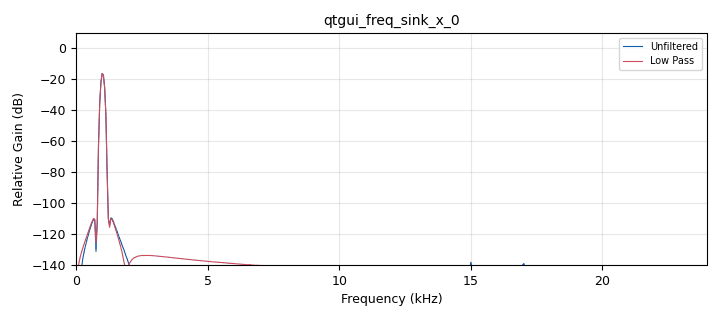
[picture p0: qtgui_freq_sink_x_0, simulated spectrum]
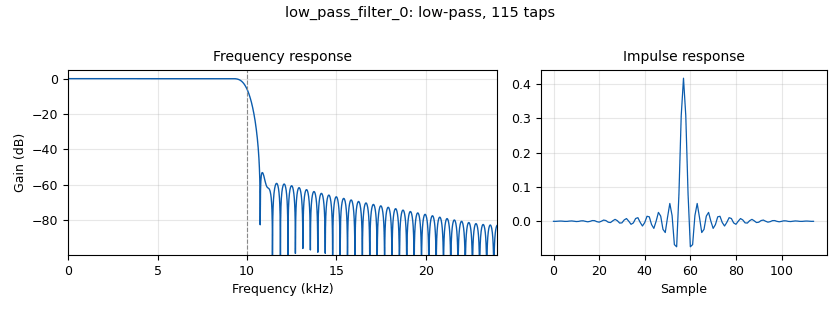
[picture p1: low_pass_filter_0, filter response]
<?xml version='1.0' encoding='utf-8'?>
<?grc format='1' created='3.7.10'?>
<flow_graph>
<block>
<key>options</key>
<param><key>id</key><value>top_block</value></param>
<param><key>generate_options</key><value>qt_gui</value></param>
</block>
<block>
<key>variable_qtgui_range</key>
<param><key>id</key><value>cutoff_freq</value></param>
<param><key>value</key><value>10e3</value></param>
<param><key>orient</key><value>Qt.Horizontal</value></param>
<param><key>start</key><value>100</value></param>
<param><key>step</key><value>10</value></param>
<param><key>stop</key><value>24e3</value></param>
</block>
<block>
<key>variable_qtgui_range</key>
<param><key>id</key><value>freq</value></param>
<param><key>value</key><value>1e3</value></param>
<param><key>label</key><value>Signal Frequency</value></param>
<param><key>orient</key><value>Qt.Horizontal</value></param>
<param><key>start</key><value>100</value></param>
<param><key>step</key><value>100</value></param>
<param><key>stop</key><value>22e3</value></param>
</block>
<block>
<key>variable</key>
<param><key>id</key><value>samp_rate</value></param>
<param><key>value</key><value>48e3</value></param>
</block>
<block>
<key>variable_qtgui_range</key>
<param><key>id</key><value>tr_width</value></param>
<param><key>value</key><value>1e3</value></param>
<param><key>label</key><value>Low Pass transition width</value></param>
<param><key>orient</key><value>Qt.Horizontal</value></param>
<param><key>start</key><value>500</value></param>
<param><key>step</key><value>100</value></param>
<param><key>stop</key><value>10e3</value></param>
</block>
<block>
<key>analog_sig_source_x</key>
<param><key>id</key><value>analog_sig_source_x_0</value></param>
<param><key>amp</key><value>0.9</value></param>
<param><key>freq</key><value>freq</value></param>
<param><key>offset</key><value>0</value></param>
<param><key>type</key><value>float</value></param>
<param><key>samp_rate</key><value>samp_rate</value></param>
<param><key>waveform</key><value>analog.GR_COS_WAVE</value></param>
</block>
<block>
<key>audio_sink</key>
<param><key>id</key><value>audio_sink_0</value></param>
<param><key>samp_rate</key><value>int(samp_rate)</value></param>
</block>
<block>
<key>low_pass_filter</key>
<param><key>id</key><value>low_pass_filter_0</value></param>
<param><key>cutoff_freq</key><value>cutoff_freq</value></param>
<param><key>decim</key><value>1</value></param>
<param><key>type</key><value>fir_filter_fff</value></param>
<param><key>gain</key><value>1</value></param>
<param><key>samp_rate</key><value>samp_rate</value></param>
<param><key>width</key><value>tr_width</value></param>
<param><key>win</key><value>firdes.WIN_HAMMING</value></param>
</block>
<block>
<key>qtgui_freq_sink_x</key>
<param><key>id</key><value>qtgui_freq_sink_x_0</value></param>
<param><key>bw</key><value>samp_rate</value></param>
<param><key>fc</key><value>0</value></param>
<param><key>fftsize</key><value>1024</value></param>
<param><key>grid</key><value>True</value></param>
<param><key>label1</key><value>Unfiltered</value></param>
<param><key>width1</key><value>2</value></param>
<param><key>label2</key><value>Low Pass</value></param>
<param><key>width2</key><value>2</value></param>
<param><key>nconnections</key><value>2</value></param>
<param><key>showports</key><value>True</value></param>
<param><key>freqhalf</key><value>False</value></param>
<param><key>type</key><value>float</value></param>
<param><key>wintype</key><value>firdes.WIN_BLACKMAN_hARRIS</value></param>
</block>
<connection><source_block_id>analog_sig_source_x_0</source_block_id><sink_block_id>low_pass_filter_0</sink_block_id><source_key>0</source_key><sink_key>0</sink_key></connection>
<connection><source_block_id>analog_sig_source_x_0</source_block_id><sink_block_id>qtgui_freq_sink_x_0</sink_block_id><source_key>0</source_key><sink_key>0</sink_key></connection>
<connection><source_block_id>low_pass_filter_0</source_block_id><sink_block_id>audio_sink_0</sink_block_id><source_key>0</source_key><sink_key>0</sink_key></connection>
<connection><source_block_id>low_pass_filter_0</source_block_id><sink_block_id>qtgui_freq_sink_x_0</sink_block_id><source_key>0</source_key><sink_key>1</sink_key></connection>
</flow_graph>
